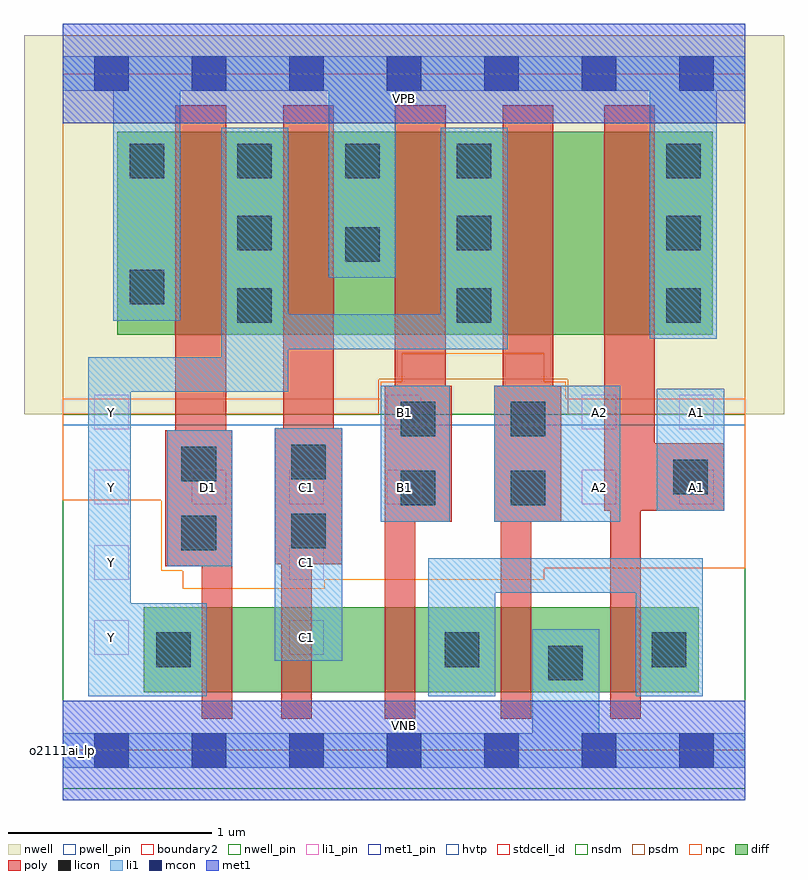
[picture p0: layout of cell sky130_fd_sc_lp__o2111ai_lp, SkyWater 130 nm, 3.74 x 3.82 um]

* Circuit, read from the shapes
.subckt sky130_fd_sc_lp__o2111ai_lp A1 A2 B1 C1 D1 VGND VNB VPB VPWR Y
XM1 n1 D1 Y VNB sky130_fd_pr__nfet_01v8 w=0.42 l=0.15
XM2 n2 C1 n1 VNB sky130_fd_pr__nfet_01v8 w=0.42 l=0.15
XM3 n3 B1 n2 VNB sky130_fd_pr__nfet_01v8 w=0.42 l=0.15
XM4 VGND A2 n3 VNB sky130_fd_pr__nfet_01v8 w=0.42 l=0.15
XM5 n3 A1 VGND VNB sky130_fd_pr__nfet_01v8 w=0.42 l=0.15
XM6 Y D1 VPWR VPB sky130_fd_pr__pfet_01v8_hvt w=1 l=0.25
XM7 VPWR C1 Y VPB sky130_fd_pr__pfet_01v8_hvt w=1 l=0.25
XM8 Y B1 VPWR VPB sky130_fd_pr__pfet_01v8_hvt w=1 l=0.25
XM9 n4 A2 Y VPB sky130_fd_pr__pfet_01v8_hvt w=1 l=0.25
XM10 VPWR A1 n4 VPB sky130_fd_pr__pfet_01v8_hvt w=1 l=0.25
.ends

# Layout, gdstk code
import gdstk
lib = gdstk.Library(unit=1e-6, precision=1e-09)
def R(c, l, rs):  # rectangles x0, y0, x1, y1
    for r in rs: c.add(gdstk.rectangle(r[:2], r[2:], *l))
def A(c, l, x, y, w, h, nx, ny, dx, dy):  # array of equal rectangles
    R(c, l, [(x+i*dx, y+j*dy, x+i*dx+w, y+j*dy+h) for i in range(nx) for j in range(ny)])
def P(c, l, *ps):  # polygons
    for p in ps: c.add(gdstk.Polygon(p, *l))
nwell_pin = (64, 16)
nwell = (64, 20)
diff = (65, 20)
poly = (66, 20)
licon = (66, 44)
li1_pin = (67, 16)
li1 = (67, 20)
mcon = (67, 44)
met1_pin = (68, 16)
met1 = (68, 20)
hvtp = (78, 44)
stdcell_id = (81, 4)
nsdm = (93, 44)
psdm = (94, 20)
npc = (95, 20)
pwell_pin = (122, 16)
boundary2 = (236, 0)

sky130_fd_sc_lp__o2111ai = lib.new_cell('sky130_fd_sc_lp__o2111ai_lp')
R(sky130_fd_sc_lp__o2111ai, nwell_pin, [(0,3.085,3.36,3.33)])
R(sky130_fd_sc_lp__o2111ai, nwell, [(-0.19,1.655,3.55,3.52)])
R(sky130_fd_sc_lp__o2111ai, diff, [(0.4,0.285,3.13,0.705), (0.27,2.045,3.2,3.045)])
P(sky130_fd_sc_lp__o2111ai, poly, [(0.835,1.575),(0.805,1.575),(0.805,3.175),(0.555,3.175),(0.555,1.575),(0.505,1.575),(0.505,0.905),(0.685,0.905),(0.685,0.155),(0.835,0.155)],
  [(1.375,1.585),(1.335,1.585),(1.335,3.175),(1.085,3.175),(1.085,1.585),(1.045,1.585),(1.045,0.915),(1.075,0.915),(1.075,0.155),(1.225,0.155),(1.225,0.915),(1.375,0.915)],
  [(1.915,1.795),(1.885,1.795),(1.885,3.175),(1.635,3.175),(1.635,1.795),(1.585,1.795),(1.585,0.155),(1.735,0.155),(1.735,1.125),(1.915,1.125)],
  [(2.455,1.795),(2.415,1.795),(2.415,3.175),(2.165,3.175),(2.165,1.795),(2.125,1.795),(2.125,1.125),(2.155,1.125),(2.155,0.155),(2.305,0.155),(2.305,1.125),(2.455,1.125)],
  [(3.255,1.51),(2.915,1.51),(2.915,3.175),(2.665,3.175),(2.665,1.18),(2.695,1.18),(2.695,0.155),(2.845,0.155),(2.845,1.18),(3.255,1.18)])
A(sky130_fd_sc_lp__o2111ai, licon, 1.94, 2.105, 0.17, 0.17, 1, 3, 0, 0.355)
A(sky130_fd_sc_lp__o2111ai, licon, 2.97, 2.105, 0.17, 0.17, 1, 3, 0, 0.355)
A(sky130_fd_sc_lp__o2111ai, licon, 0.33, 2.815, 0.17, 0.17, 3, 1, 0.53, 0)
R(sky130_fd_sc_lp__o2111ai, licon, [(2.39,0.345,2.56,0.515), (0.46,0.41,0.63,0.58), (1.88,0.41,2.05,0.58), (2.9,0.41,3.07,0.58), (0.585,0.985,0.755,1.155), (1.125,0.995,1.295,1.165), (1.665,1.205,1.835,1.375), (2.205,1.205,2.375,1.375), (3.005,1.26,3.175,1.43), (0.585,1.325,0.755,1.495), (1.125,1.335,1.295,1.505), (1.665,1.545,1.835,1.715), (2.205,1.545,2.375,1.715), (0.86,2.105,1.03,2.275), (0.33,2.195,0.5,2.365), (1.39,2.405,1.56,2.575), (0.86,2.46,1.03,2.63)])
A(sky130_fd_sc_lp__o2111ai, li1_pin, 0.155, 1.21, 0.17, 0.17, 4, 1, 0.48, 0)
R(sky130_fd_sc_lp__o2111ai, li1_pin, [(0.155,0.47,0.325,0.64), (1.115,0.47,1.285,0.64), (0.155,0.84,0.325,1.01), (1.115,0.84,1.285,1.01), (2.555,1.21,2.725,1.38), (3.035,1.21,3.205,1.38), (0.155,1.58,0.325,1.75), (1.595,1.58,1.765,1.75), (2.555,1.58,2.725,1.75), (3.035,1.58,3.205,1.75)])
R(sky130_fd_sc_lp__o2111ai, li1, [(1.045,0.44,1.375,1.585), (0.515,0.905,0.835,1.575), (1.565,1.125,1.905,1.795), (2.125,1.125,2.745,1.795), (2.925,1.18,3.255,1.78)])
P(sky130_fd_sc_lp__o2111ai, li1, [(2.89,2.025),(2.89,3.245),(1.64,3.245),(1.64,2.325),(1.31,2.325),(1.31,3.245),(0.58,3.245),(0.58,2.115),(0.25,2.115),(0.25,3.245),(0,3.245),(0,3.415),(3.36,3.415),(3.36,3.245),(3.22,3.245),(3.22,2.025)],
  [(2.31,0.085),(2.31,0.595),(2.64,0.595),(2.64,0.085),(3.36,0.085),(3.36,-0.085),(0,-0.085),(0,0.085)],
  [(0.125,1.935),(0.78,1.935),(0.78,3.065),(1.11,3.065),(1.11,2.145),(1.86,2.145),(1.86,3.065),(2.19,3.065),(2.19,1.975),(1.11,1.975),(1.11,1.765),(0.335,1.765),(0.335,0.725),(0.71,0.725),(0.71,0.265),(0.125,0.265)],
  [(2.82,0.265),(2.82,0.775),(2.13,0.775),(2.13,0.265),(1.8,0.265),(1.8,0.945),(3.15,0.945),(3.15,0.265)])
A(sky130_fd_sc_lp__o2111ai, mcon, 0.155, -0.085, 0.17, 0.17, 7, 2, 0.48, 3.33)
R(sky130_fd_sc_lp__o2111ai, met1_pin, [(0,0,3.36,0.245), (0,3.085,3.36,3.33)])
R(sky130_fd_sc_lp__o2111ai, met1, [(0,-0.245,3.36,0.245), (0,3.085,3.36,3.575)])
R(sky130_fd_sc_lp__o2111ai, hvtp, [(0,1.6,3.36,3.33)])
R(sky130_fd_sc_lp__o2111ai, stdcell_id, [(0,0,3.36,3.33)])
R(sky130_fd_sc_lp__o2111ai, nsdm, [(0,-0.19,3.36,1.655)])
P(sky130_fd_sc_lp__o2111ai, psdm, [(3.36,3.52),(0,3.52),(0,1.655),(1.555,1.655),(1.555,1.825),(2.485,1.825),(2.485,1.655),(3.36,1.655)])
P(sky130_fd_sc_lp__o2111ai, npc, [(3.36,1.73),(2.475,1.73),(2.475,1.815),(2.37,1.815),(2.37,1.955),(1.67,1.955),(1.67,1.815),(1.565,1.815),(1.565,1.73),(0,1.73),(0,1.23),(0.485,1.23),(0.485,0.885),(0.59,0.885),(0.59,0.795),(1.29,0.795),(1.29,0.84),(2.37,0.84),(2.37,0.895),(3.36,0.895)])
R(sky130_fd_sc_lp__o2111ai, pwell_pin, [(0,0,3.36,0.245)])
R(sky130_fd_sc_lp__o2111ai, boundary2, [(0,0,3.36,3.33)])
sky130_fd_sc_lp__o2111ai.add(gdstk.Label('VNB', (1.68,0.123), layer=64, texttype=59))
sky130_fd_sc_lp__o2111ai.add(gdstk.Label('VPB', (1.68,3.208), layer=64, texttype=5))
sky130_fd_sc_lp__o2111ai.add(gdstk.Label('o2111ai_lp', (0,0), layer=83, texttype=44))
sky130_fd_sc_lp__o2111ai.add(gdstk.Label('VPWR', (1.68,3.208), layer=68, texttype=5))
sky130_fd_sc_lp__o2111ai.add(gdstk.Label('VGND', (1.68,0.123), layer=68, texttype=5))
sky130_fd_sc_lp__o2111ai.add(gdstk.Label('C1', (1.2,0.555), layer=67, texttype=5))
sky130_fd_sc_lp__o2111ai.add(gdstk.Label('C1', (1.2,0.925), layer=67, texttype=5))
sky130_fd_sc_lp__o2111ai.add(gdstk.Label('C1', (1.2,1.295), layer=67, texttype=5))
sky130_fd_sc_lp__o2111ai.add(gdstk.Label('A1', (3.12,1.295), layer=67, texttype=5))
sky130_fd_sc_lp__o2111ai.add(gdstk.Label('A1', (3.12,1.665), layer=67, texttype=5))
sky130_fd_sc_lp__o2111ai.add(gdstk.Label('D1', (0.72,1.295), layer=67, texttype=5))
sky130_fd_sc_lp__o2111ai.add(gdstk.Label('A2', (2.64,1.295), layer=67, texttype=5))
sky130_fd_sc_lp__o2111ai.add(gdstk.Label('A2', (2.64,1.665), layer=67, texttype=5))
sky130_fd_sc_lp__o2111ai.add(gdstk.Label('B1', (1.68,1.295), layer=67, texttype=5))
sky130_fd_sc_lp__o2111ai.add(gdstk.Label('B1', (1.68,1.665), layer=67, texttype=5))
sky130_fd_sc_lp__o2111ai.add(gdstk.Label('Y', (0.24,0.555), layer=67, texttype=5))
sky130_fd_sc_lp__o2111ai.add(gdstk.Label('Y', (0.24,0.925), layer=67, texttype=5))
sky130_fd_sc_lp__o2111ai.add(gdstk.Label('Y', (0.24,1.295), layer=67, texttype=5))
sky130_fd_sc_lp__o2111ai.add(gdstk.Label('Y', (0.24,1.665), layer=67, texttype=5))

lib.write_gds('sky130_fd_sc_lp__o2111ai_lp.gds')
